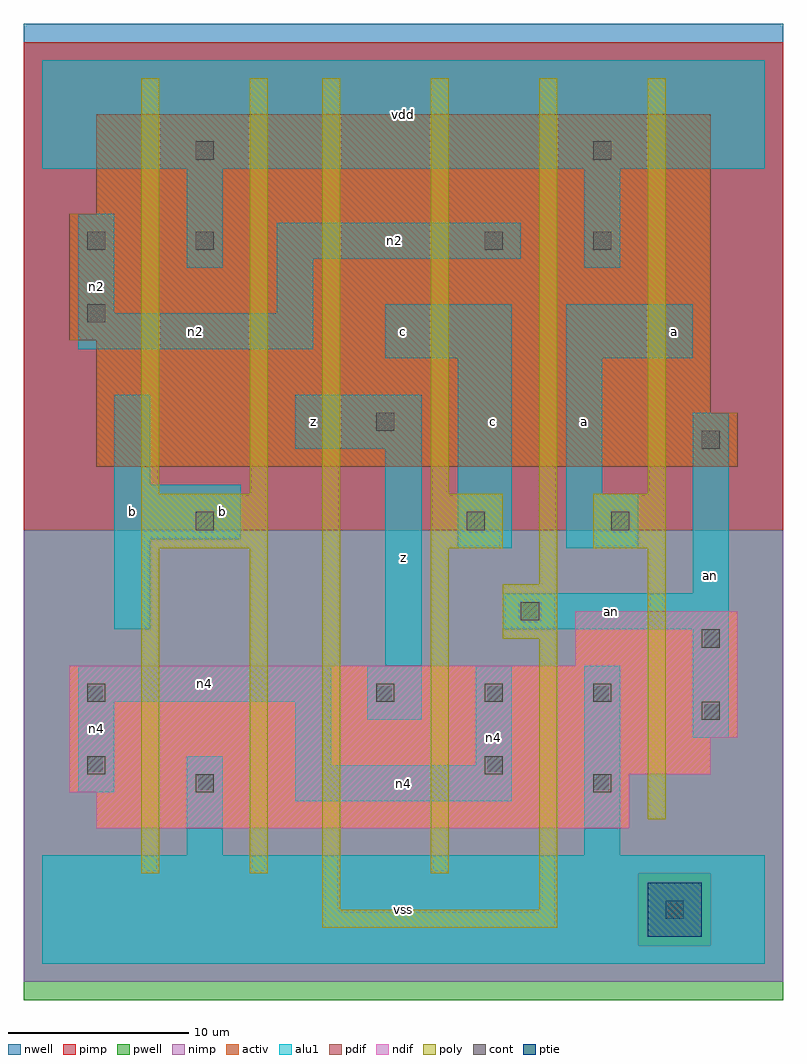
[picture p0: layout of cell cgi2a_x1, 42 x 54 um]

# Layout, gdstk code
import gdstk
lib = gdstk.Library(unit=1e-6, precision=1e-09)
def R(c, l, rs):  # rectangles x0, y0, x1, y1
    for r in rs: c.add(gdstk.rectangle(r[:2], r[2:], *l))
def A(c, l, x, y, w, h, nx, ny, dx, dy):  # array of equal rectangles
    R(c, l, [(x+i*dx, y+j*dy, x+i*dx+w, y+j*dy+h) for i in range(nx) for j in range(ny)])
ndif = (3, 0)
pdif = (4, 0)
ptie = (6, 0)
cont = (25, 0)
pwell = (41, 0)
nwell = (42, 0)
activ = (43, 0)
pimp = (44, 0)
nimp = (45, 0)
poly = (46, 0)
alu1 = (49, 0)

cgi2a_x1 = lib.new_cell('cgi2a_x1')
R(cgi2a_x1, ndif, [(3,7.5,32.5,9.5), (1.5,9.5,32.5,10.5), (1.5,10.5,37,12.5), (1.5,12.5,38.5,16.5), (29.5,16.5,38.5,19.5)])
R(cgi2a_x1, pdif, [(3,27.5,38.5,30.5), (3,30.5,37,34.5), (1.5,34.5,37,41.5), (3,41.5,37,47)])
R(cgi2a_x1, ptie, [(33.5,1.5,36.5,4.5)])
A(cgi2a_x1, cont, 18.5, 14.5, 1, 1, 3, 1, 6, 0)
R(cgi2a_x1, cont, [(34.5,2.5,35.5,3.5), (8.5,9.5,9.5,10.5), (30.5,9.5,31.5,10.5), (2.5,10.5,3.5,11.5), (24.5,10.5,25.5,11.5), (36.5,13.5,37.5,14.5), (2.5,14.5,3.5,15.5), (36.5,17.5,37.5,18.5), (26.5,19,27.5,20), (8.5,24,9.5,25), (23.5,24,24.5,25), (31.5,24,32.5,25), (36.5,28.5,37.5,29.5), (18.5,29.5,19.5,30.5), (2.5,35.5,3.5,36.5), (2.5,39.5,3.5,40.5), (8.5,39.5,9.5,40.5), (24.5,39.5,25.5,40.5), (30.5,39.5,31.5,40.5), (8.5,44.5,9.5,45.5), (30.5,44.5,31.5,45.5)])
R(cgi2a_x1, pwell, [(-1,-2,41,24)])
R(cgi2a_x1, nwell, [(-1,24,41,52)])
R(cgi2a_x1, activ, [(33.5,1.5,36.5,4.5), (3,7.5,32.5,9.5), (1.5,9.5,32.5,10.5), (1.5,10.5,37,12.5), (1.5,12.5,38.5,16.5), (29.5,16.5,38.5,19.5), (3,27.5,38.5,30.5), (3,30.5,37,34.5), (1.5,34.5,37,41.5), (3,41.5,37,47)])
R(cgi2a_x1, pimp, [(33,1,37,5), (-1,24,41,51)])
R(cgi2a_x1, nimp, [(-1,-1,41,1), (-1,1,33,5), (37,1,41,5), (-1,5,41,24)])
R(cgi2a_x1, poly, [(15.5,2,28.5,3), (15.5,3,16.5,49), (27.5,3,28.5,18), (5.5,5,6.5,23), (11.5,5,12.5,23), (21.5,5,22.5,23), (33.5,8,34.5,23), (25.5,18,28.5,21), (27.5,21,28.5,49), (5.5,23,12.5,26), (21.5,23,25.5,26), (30.5,23,34.5,26), (5.5,26,6.5,49), (11.5,26,12.5,49), (21.5,26,22.5,49), (33.5,26,34.5,49)])
R(cgi2a_x1, alu1, [(0,0,40,6), (8,6,10,11.5), (30,6,32,16.5), (14,9,26,11), (2,9.5,4,14.5), (14,11,16,14.5), (24,11,26,16.5), (36,12.5,38,18.5), (18,13.5,21,16.5), (2,14.5,16,16.5), (19,16.5,21,28.5), (4,18.5,6,23.5), (25.5,18.5,38,20.5), (36,20.5,38,30.5), (23,23,26,33.5), (29,23,33,26), (4,23.5,11,26.5), (29,26,31,33.5), (4,26.5,6,31.5), (14,28.5,21,31.5), (19,33.5,26,36.5), (29,33.5,36,36.5), (2,34,15,36), (2,36,4,41.5), (13,36,15,39), (8,38.5,10,44), (30,38.5,32,44), (13,39,26.5,41), (0,44,40,50)])
cgi2a_x1.add(gdstk.Label('n4', (3,13), layer=49, texttype=0))
cgi2a_x1.add(gdstk.Label('b', (5,25), layer=49, texttype=0))
cgi2a_x1.add(gdstk.Label('n2', (3,37.5), layer=49, texttype=0))
cgi2a_x1.add(gdstk.Label('b', (10,25), layer=49, texttype=0))
cgi2a_x1.add(gdstk.Label('n2', (8.5,35), layer=49, texttype=0))
cgi2a_x1.add(gdstk.Label('vss', (20,3), layer=49, texttype=0))
cgi2a_x1.add(gdstk.Label('n4', (9,15.5), layer=49, texttype=0))
cgi2a_x1.add(gdstk.Label('z', (20,22.5), layer=49, texttype=0))
cgi2a_x1.add(gdstk.Label('z', (15,30), layer=49, texttype=0))
cgi2a_x1.add(gdstk.Label('c', (20,35), layer=49, texttype=0))
cgi2a_x1.add(gdstk.Label('vdd', (20,47), layer=49, texttype=0))
cgi2a_x1.add(gdstk.Label('n4', (25,12.5), layer=49, texttype=0))
cgi2a_x1.add(gdstk.Label('n4', (20,10), layer=49, texttype=0))
cgi2a_x1.add(gdstk.Label('a', (30,30), layer=49, texttype=0))
cgi2a_x1.add(gdstk.Label('c', (25,30), layer=49, texttype=0))
cgi2a_x1.add(gdstk.Label('n2', (19.5,40), layer=49, texttype=0))
cgi2a_x1.add(gdstk.Label('an', (31.5,19.5), layer=49, texttype=0))
cgi2a_x1.add(gdstk.Label('an', (37,21.5), layer=49, texttype=0))
cgi2a_x1.add(gdstk.Label('a', (35,35), layer=49, texttype=0))

lib.write_gds('cgi2a_x1.gds')
